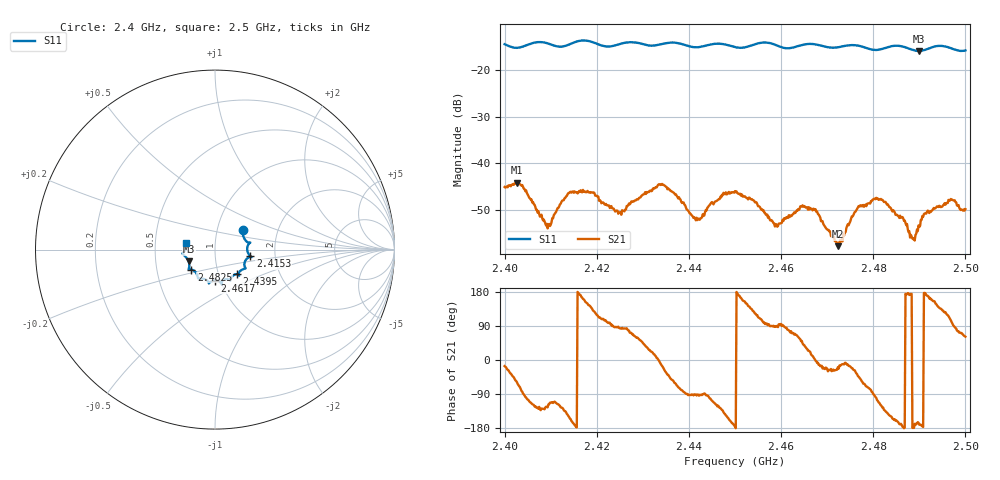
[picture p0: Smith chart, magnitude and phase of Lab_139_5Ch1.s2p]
# Hz S RI R 50
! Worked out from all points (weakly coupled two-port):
!   601 points, 2.4 GHz to 2.5 GHz, reference 50 ohm
!   highest |S21| = -44.14 dB at 2.4027 GHz (marker M1); lowest = -57.8 dB at 2.4723 GHz (marker M2)
!   lowest |S11| = -15.9 dB at 2.4898 GHz (marker M3), VSWR 1.38, Z = 36.9 - j4.9 ohm
!   |S11| at or under -10 dB: start of sweep to end of sweep
!   S12 and S22 are empty: the file has one direction only
!   S11 on the Smith chart (normalised r, x): 2.4 GHz: 1.33, +0.30; 2.4153 GHz: 1.49, -0.12; 2.4395 GHz: 1.23, -0.35; 2.4617 GHz: 0.94, -0.33; 2.4825 GHz: 0.75, -0.17; 2.5 GHz: 0.72, +0.05
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2.4e9  0.1557 0.1093  0.00537 -0.00155  0 0  0 0
2.402667e9  0.1609 0.0657  0.00327 -0.00528  0 0  0 0
2.4095e9  0.19 0.0343  -0.00101 -0.00196  0 0  0 0
2.415333e9  0.1974 -0.0372  -0.00487 -0.00057  0 0  0 0
2.416667e9  0.204 -0.0419  -0.00479 0.00118  0 0  0 0
2.425167e9  0.1662 -0.097  0.00035 0.00298  0 0  0 0
2.433333e9  0.1323 -0.1326  0.0059 0.000137  0 0  0 0
2.4395e9  0.1228 -0.1373  1.81e-05 -0.00322  0 0  0 0
2.442333e9  0.096 -0.1496  -8.09e-05 -0.00249  0 0  0 0
2.45e9  0.067 -0.1643  -0.00503 -0.000388  0 0  0 0
2.458833e9  0.0332 -0.1839  9.95e-05 0.00224  0 0  0 0
2.461667e9  0.000305 -0.1722  0.000557 0.00272  0 0  0 0
2.466667e9  -0.034 -0.1885  0.00317 0.00069  0 0  0 0
2.472333e9  -0.0712 -0.1613  0.00123 -0.000418  0 0  0 0
2.477e9  -0.0955 -0.1557  0.00238 -0.00251  0 0  0 0
2.4825e9  -0.1323 -0.1113  -0.00263 -0.00283  0 0  0 0
2.483333e9  -0.1397 -0.1103  -0.00284 -0.00207  0 0  0 0
2.4885e9  -0.1429 -0.0841  -0.00156 -1.75e-05  0 0  0 0
2.489833e9  -0.1474 -0.0648  -0.0021 -0.000528  0 0  0 0
2.4915e9  -0.1619 -0.0419  -0.00286 0.000441  0 0  0 0
2.496833e9  -0.1725 -0.0112  -0.00107 0.00402  0 0  0 0
2.5e9  -0.1594 0.035  0.00154 0.00284  0 0  0 0
